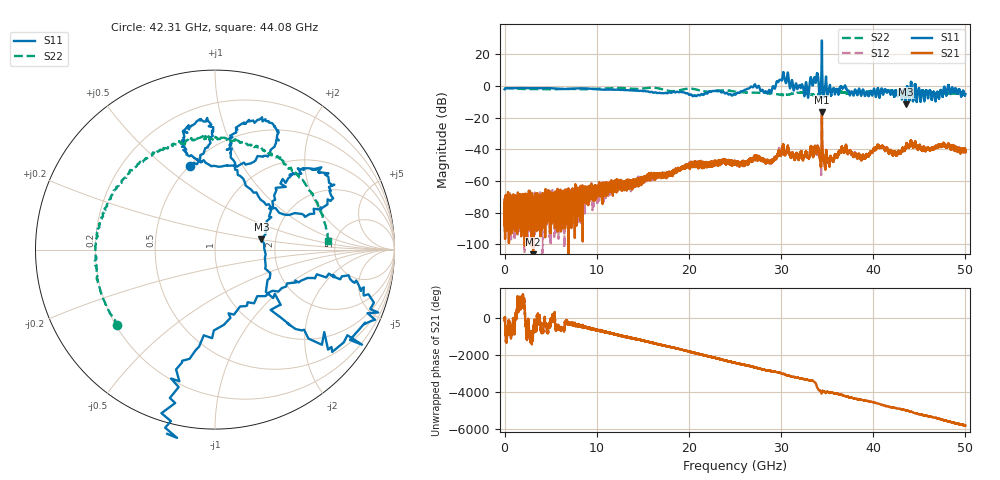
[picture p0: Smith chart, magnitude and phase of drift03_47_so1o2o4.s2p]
!Created with skrf (http://scikit-rf.org).
# Hz S RI R 50.0
!freq ReS11 ImS11 ReS21 ImS21 ReS12 ImS12 ReS22 ImS22
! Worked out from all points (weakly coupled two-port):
!   10000 points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, 5.3 MHz to 50 GHz, reference 50 ohm
!   highest |S21| = -16.70 dB at 34.43 GHz (marker M1); lowest = -114.9 dB at 3.1 GHz (marker M2)
!   lowest |S11| = -11.5 dB at 43.51 GHz (marker M3), VSWR 1.72, Z = 84.1 + j10.4 ohm
!   |S11| at or under -10 dB: 43.49141 GHz to 43.54251 GHz (51.1 MHz wide, 0.117 % of centre); 44.70647 GHz to 44.71124 GHz (4.774 MHz wide, 0.0107 % of centre)
!   |S22| runs from -5.8 to -1.1 dB; largest |S21 - S12| = 0.054
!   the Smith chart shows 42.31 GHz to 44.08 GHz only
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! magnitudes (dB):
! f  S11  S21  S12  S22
! 5.3 MHz  -2.1  -80.8  -81.9  -1.3
! 3.1 GHz  -1.4  -114.9  -76.0  -2.0
! 8.34 GHz  -1.5  -67.0  -69.9  -2.1
! 16.67 GHz  -4.4  -56.4  -56.1  -1.5
! 20.23 GHz  -5.3  -49.7  -48.8  -1.7
! 25.01 GHz  -5.5  -48.8  -48.2  -3.5
! 27.02 GHz  -0.3  -45.7  -45.4  -4.2
! 28.72 GHz  -2.5  -48.0  -48.0  -4.5
! 30.14 GHz  4.4  -40.1  -40.6  -5.6
! 32.74 GHz  2.0  -42.0  -42.4  -4.6
! 33.34 GHz  2.6  -39.4  -40.1  -5.5
! 33.82 GHz  4.0  -42.0  -42.1  -5.7
! 34.43 GHz  28.8  -16.7  -18.5  -4.5
! 35.28 GHz  0.1  -49.4  -47.5  -3.4
! 36.84 GHz  -0.7  -41.7  -41.9  -4.1
! 38.85 GHz  -2.7  -44.5  -44.5  -3.2
! 40.58 GHz  -3.1  -37.8  -38.1  -4.0
! 41.67 GHz  -3.0  -42.3  -41.9  -3.3
! 43.51 GHz  -11.5  -39.4  -39.3  -4.2
! 46.94 GHz  -3.8  -38.1  -38.7  -4.8
! 47.61 GHz  -3.4  -37.0  -36.7  -4.8
! 50 GHz  -5.2  -41.9  -40.5  -4.5
